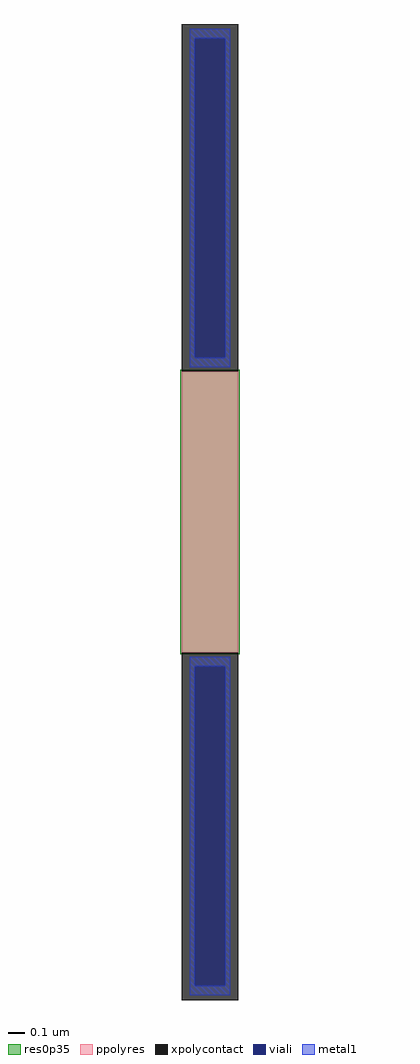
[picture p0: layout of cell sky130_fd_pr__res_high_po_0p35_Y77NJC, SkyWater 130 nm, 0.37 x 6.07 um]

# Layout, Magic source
magic
tech sky130A
magscale 1 2
<< xpolycontact >>
rect -35 175 35 607
rect -35 -607 35 -175
<< ppolyres >>
rect -35 -175 35 175
<< viali >>
rect -19 192 19 589
rect -19 -589 19 -192
<< metal1 >>
rect -25 589 25 601
rect -25 192 -19 589
rect 19 192 25 589
rect -25 180 25 192
rect -25 -192 25 -180
rect -25 -589 -19 -192
rect 19 -589 25 -192
rect -25 -601 25 -589
<< res0p35 >>
rect -37 -177 37 177
<< properties >>
string gencell sky130_fd_pr__res_high_po_0p35
string library sky130
string parameters w 0.350 l 1.75 m 1 nx 1 wmin 0.350 lmin 0.50 rho 319.8 val 2.712k dummy 0 dw 0.0 term 194.82 sterm 0.0 caplen 0 guard 0 glc 1 grc 1 gtc 1 gbc 1 compatible {sky130_fd_pr__res_high_po_0p35  sky130_fd_pr__res_high_po_0p69 sky130_fd_pr__res_high_po_1p41  sky130_fd_pr__res_high_po_2p85 sky130_fd_pr__res_high_po_5p73} full_metal 1 wmax 0.350 vias 1 n_guard 0 hv_guard 0 viagb 0 viagt 0 viagl 0 viagr 0
<< end >>
